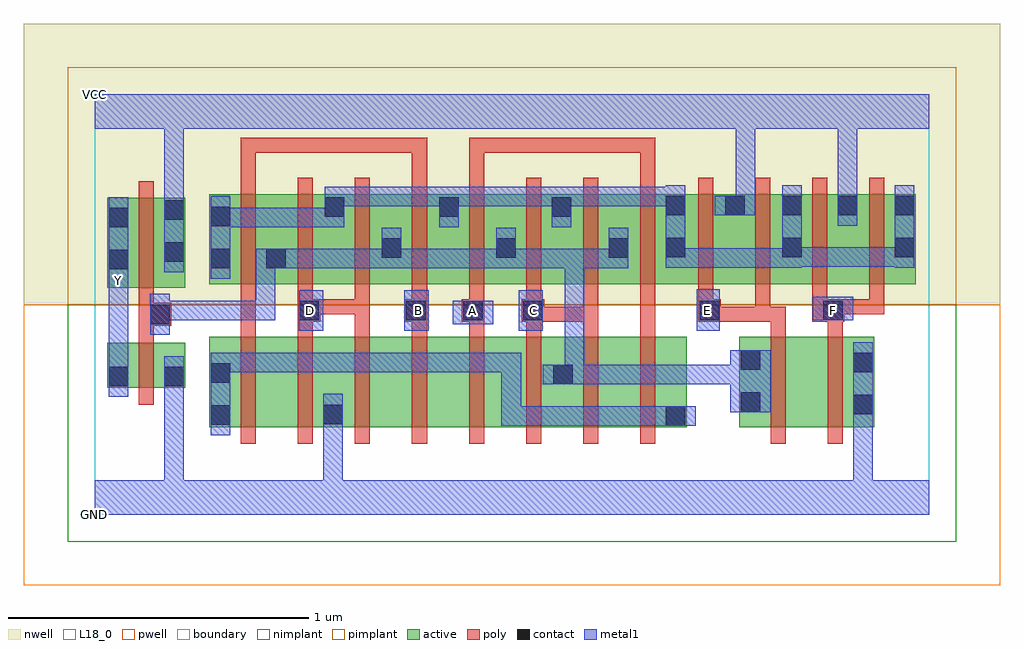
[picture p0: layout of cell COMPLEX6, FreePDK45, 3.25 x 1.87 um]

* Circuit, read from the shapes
.subckt COMPLEX6 A B C D E F GND VCC Y
M1 GND n1 Y VSUBS nfet w=0.15u l=0.05u
M2 n2 B n3 VSUBS nfet w=0.3u l=0.05u
M3 GND D n2 VSUBS nfet w=0.3u l=0.05u
M4 n4 D GND VSUBS nfet w=0.3u l=0.05u
M5 n5 B n4 VSUBS nfet w=0.3u l=0.05u
M6 n6 A n5 VSUBS nfet w=0.3u l=0.05u
M7 n1 C n6 VSUBS nfet w=0.3u l=0.05u
M8 n7 C n1 VSUBS nfet w=0.3u l=0.05u
M9 n3 A n7 VSUBS nfet w=0.3u l=0.05u
M10 n8 E n1 VSUBS nfet w=0.3u l=0.05u
M11 GND F n8 VSUBS nfet w=0.3u l=0.05u
M12 VCC n1 Y n9 pfet w=0.3u l=0.05u
M13 n1 B n10 n9 pfet w=0.3u l=0.05u m=2
M14 n10 D n1 n9 pfet w=0.3u l=0.05u m=2
M15 n1 A n10 n9 pfet w=0.3u l=0.05u m=2
M16 n10 C n1 n9 pfet w=0.3u l=0.05u m=2
M17 VCC E n10 n9 pfet w=0.3u l=0.05u m=2
M18 VCC F n10 n9 pfet w=0.3u l=0.05u m=2
.ends

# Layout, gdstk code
import gdstk
lib = gdstk.Library(unit=1e-6, precision=1e-09)
def R(c, l, rs):  # rectangles x0, y0, x1, y1
    for r in rs: c.add(gdstk.rectangle(r[:2], r[2:], *l))
def A(c, l, x, y, w, h, nx, ny, dx, dy):  # array of equal rectangles
    R(c, l, [(x+i*dx, y+j*dy, x+i*dx+w, y+j*dy+h) for i in range(nx) for j in range(ny)])
active = (1, 0)
pwell = (2, 0)
nwell = (3, 0)
nimplant = (4, 0)
pimplant = (5, 0)
poly = (9, 0)
contact = (10, 0)
metal1 = (11, 0)
L18_0 = (18, 0)
boundary = (235, 0)

complex6 = lib.new_cell('COMPLEX6')
A(complex6, active, 0.382, 0.767, 0.075, 0.3, 3, 1, 0.38, 0)
A(complex6, active, 0.762, 0.767, 0.265, 0.3, 3, 1, 0.19, 0)
R(complex6, active, [(0.382,0.292,0.457,0.592), (0.382,0.292,0.607,0.592), (0.607,0.292,0.832,0.592), (0.757,0.292,0.987,0.592), (0.757,0.292,0.832,0.572), (0.987,0.292,1.177,0.592), (1.177,0.292,1.367,0.592), (1.367,0.292,1.597,0.592), (1.522,0.292,1.747,0.592), (1.747,0.292,1.972,0.592), (1.897,0.292,1.972,0.592), (2.147,0.292,2.222,0.592), (2.147,0.292,2.372,0.592), (2.372,0.292,2.597,0.592), (2.522,0.292,2.597,0.592), (1.522,0.33,1.597,0.505), (0.042,0.422,0.117,0.572), (0.042,0.422,0.302,0.572), (0.227,0.422,0.302,0.572), (0.042,0.755,0.117,1.055), (0.042,0.755,0.302,1.055), (0.227,0.755,0.302,1.055), (0.382,0.767,0.642,1.067), (0.567,0.767,0.837,1.067), (1.332,0.767,1.592,1.067), (1.517,0.767,1.592,1.067), (1.517,0.767,1.782,1.067), (1.707,0.767,1.972,1.067), (1.897,0.767,1.972,1.067), (1.897,0.767,2.17,1.067), (2.095,0.767,2.17,1.067), (2.095,0.767,2.36,1.067), (2.285,0.767,2.36,1.067), (2.285,0.767,2.545,1.067), (2.47,0.767,2.545,1.067), (2.47,0.767,2.735,1.067), (2.66,0.767,2.735,1.067), (0.567,0.815,0.642,1.055), (0.952,0.85,1.027,1.055), (1.332,0.85,1.407,1.055), (1.707,0.85,1.782,1.055)])
R(complex6, pwell, [(-0.235,-0.235,3.015,0.7)])
R(complex6, nwell, [(-0.235,0.7,3.015,1.635)])
R(complex6, nimplant, [(-0.09,-0.09,2.87,0.7)])
R(complex6, pimplant, [(-0.09,0.7,2.87,1.49)])
A(complex6, poly, 0.487, 0.237, 0.05, 0.41, 8, 2, 0.19, 0.475)
A(complex6, poly, 1.057, 0.597, 0.05, 0.095, 5, 1, 0.19, 0)
A(complex6, poly, 0.487, 0.667, 0.05, 0.095, 6, 1, 0.19, 0)
A(complex6, poly, 2.01, 0.712, 0.05, 0.41, 4, 1, 0.19, 0)
R(complex6, poly, [(2.252,0.237,2.302,0.647), (2.442,0.237,2.492,0.647), (0.147,0.367,0.197,0.627), (0.147,0.577,0.197,0.68), (0.487,0.597,0.537,0.717), (0.677,0.597,0.727,0.692), (0.867,0.597,0.917,0.717), (2.252,0.597,2.302,0.692), (2.442,0.597,2.492,0.692), (0.147,0.63,0.255,0.705), (0.677,0.642,0.752,0.717), (1.032,0.642,1.107,0.717), (1.222,0.642,1.297,0.717), (1.422,0.642,1.497,0.717), (1.447,0.642,1.677,0.692), (1.627,0.642,1.677,0.692), (1.627,0.642,1.677,0.692), (1.627,0.642,1.677,0.692), (1.627,0.642,1.677,0.762), (1.817,0.642,1.867,0.692), (1.817,0.642,1.867,0.762), (2.01,0.642,2.085,0.717), (2.035,0.642,2.25,0.692), (2.2,0.642,2.25,0.692), (2.2,0.642,2.25,0.692), (2.2,0.642,2.25,0.762), (2.2,0.642,2.302,0.692), (2.39,0.642,2.497,0.717), (0.147,0.655,0.197,0.75), (0.487,0.667,0.537,0.717), (0.702,0.667,0.752,0.717), (0.702,0.667,0.752,0.717), (0.702,0.667,0.917,0.717), (0.867,0.667,0.917,0.717), (2.01,0.667,2.06,0.762), (2.39,0.667,2.44,0.762), (2.447,0.667,2.63,0.717), (2.58,0.667,2.63,0.762), (2.58,0.667,2.63,0.717), (2.58,0.667,2.63,0.717), (2.58,0.667,2.63,0.717), (0.147,0.7,0.197,1.11), (0.487,1.072,0.537,1.255), (1.057,1.072,1.107,1.255), (1.247,1.072,1.297,1.255), (1.817,1.072,1.867,1.255), (0.487,1.205,0.537,1.255), (0.487,1.205,0.537,1.255), (0.487,1.205,0.537,1.255), (0.487,1.205,0.687,1.255), (0.637,1.205,0.687,1.255), (0.637,1.205,0.95,1.255), (0.9,1.205,0.95,1.255), (0.9,1.205,0.95,1.255), (0.9,1.205,0.95,1.255), (0.9,1.205,1.107,1.255), (1.057,1.205,1.107,1.255), (1.057,1.205,1.107,1.255), (1.057,1.205,1.107,1.255), (1.247,1.205,1.297,1.255), (1.247,1.205,1.297,1.255), (1.247,1.205,1.297,1.255), (1.247,1.205,1.545,1.255), (1.495,1.205,1.545,1.255), (1.495,1.205,1.545,1.255), (1.495,1.205,1.545,1.255), (1.495,1.205,1.735,1.255), (1.685,1.205,1.735,1.255), (1.685,1.205,1.867,1.255), (1.817,1.205,1.867,1.255), (1.817,1.205,1.867,1.255), (1.817,1.205,1.867,1.255)])
R(complex6, contact, [(1.902,0.297,1.967,0.362), (0.387,0.3,0.452,0.365), (0.762,0.302,0.827,0.367), (2.527,0.335,2.592,0.4), (2.152,0.342,2.217,0.407), (0.047,0.427,0.112,0.492), (0.232,0.427,0.297,0.492), (1.527,0.435,1.592,0.5), (0.387,0.44,0.452,0.505), (2.527,0.475,2.592,0.54), (2.152,0.482,2.217,0.547), (0.185,0.635,0.25,0.7), (0.682,0.647,0.747,0.712), (1.037,0.647,1.102,0.712), (1.227,0.647,1.292,0.712), (1.427,0.647,1.492,0.712), (2.015,0.647,2.08,0.712), (2.427,0.647,2.492,0.712), (0.047,0.817,0.112,0.882), (0.387,0.82,0.452,0.885), (0.572,0.82,0.637,0.885), (0.232,0.842,0.297,0.907), (0.957,0.855,1.022,0.92), (1.337,0.855,1.402,0.92), (1.712,0.855,1.777,0.92), (1.902,0.857,1.967,0.922), (2.29,0.857,2.355,0.922), (2.665,0.857,2.73,0.922), (0.047,0.957,0.112,1.022), (0.387,0.96,0.452,1.025), (0.232,0.982,0.297,1.047), (0.767,0.992,0.832,1.057), (1.147,0.992,1.212,1.057), (1.522,0.992,1.587,1.057), (1.902,0.997,1.967,1.062), (2.1,0.997,2.165,1.062), (2.29,0.997,2.355,1.062), (2.475,0.997,2.54,1.062), (2.665,0.997,2.73,1.062)])
R(complex6, metal1, [(0,0,2.78,0.115), (0.232,0.05,0.297,0.115), (0.232,0.05,0.297,0.115), (0.232,0.05,0.297,0.115), (0.232,0.05,0.297,0.115), (0.232,0.05,0.297,0.115), (0.232,0.05,0.297,0.115), (0.232,0.05,0.297,0.457), (0.762,0.05,0.827,0.115), (0.762,0.05,0.827,0.115), (0.762,0.05,0.827,0.332), (2.527,0.05,2.592,0.115), (2.527,0.05,2.592,0.115), (2.527,0.05,2.592,0.115), (2.527,0.05,2.592,0.115), (2.527,0.05,2.592,0.365), (0.387,0.265,0.452,0.54), (0.762,0.267,0.827,0.332), (0.762,0.267,0.827,0.332), (0.762,0.267,0.827,0.402), (1.355,0.297,1.42,0.362), (1.355,0.297,1.42,0.362), (1.355,0.297,1.42,0.362), (1.355,0.297,1.557,0.362), (1.355,0.297,1.42,0.54), (1.492,0.297,1.557,0.362), (1.492,0.297,1.795,0.362), (1.73,0.297,1.795,0.362), (1.73,0.297,1.795,0.362), (1.73,0.297,1.795,0.362), (1.73,0.297,1.932,0.362), (1.867,0.297,1.932,0.362), (1.867,0.297,1.932,0.362), (1.867,0.297,2.002,0.362), (2.527,0.3,2.592,0.575), (2.117,0.342,2.252,0.547), (0.047,0.392,0.112,0.527), (0.232,0.392,0.297,0.527), (1.492,0.435,1.63,0.5), (1.565,0.435,1.63,0.5), (1.565,0.435,1.63,0.5), (1.565,0.435,1.767,0.5), (1.565,0.435,1.63,0.885), (1.702,0.435,1.767,0.5), (1.702,0.435,1.795,0.5), (1.73,0.435,1.795,0.5), (1.73,0.435,1.932,0.5), (1.867,0.435,1.932,0.5), (1.867,0.435,1.932,0.5), (1.867,0.435,1.932,0.5), (1.867,0.435,2.182,0.5), (2.117,0.435,2.182,0.5), (2.117,0.435,2.182,0.5), (0.047,0.462,0.112,0.777), (0.387,0.475,0.452,0.54), (0.387,0.475,0.452,0.54), (0.387,0.475,0.672,0.54), (0.607,0.475,0.672,0.54), (0.607,0.475,0.74,0.54), (0.675,0.475,0.74,0.54), (0.675,0.475,0.81,0.54), (0.745,0.475,0.81,0.54), (0.745,0.475,0.885,0.54), (0.82,0.475,0.885,0.54), (0.82,0.475,1.022,0.54), (0.957,0.475,1.022,0.54), (0.957,0.475,1.022,0.54), (0.957,0.475,1.022,0.54), (0.957,0.475,1.212,0.54), (1.147,0.475,1.212,0.54), (1.147,0.475,1.212,0.54), (1.147,0.475,1.212,0.54), (1.147,0.475,1.42,0.54), (1.355,0.475,1.42,0.54), (0.185,0.6,0.25,0.735), (0.682,0.612,0.762,0.747), (1.032,0.612,1.112,0.747), (1.412,0.612,1.492,0.747), (2.005,0.612,2.082,0.75), (1.192,0.635,1.327,0.712), (0.185,0.647,0.25,0.712), (0.185,0.647,0.25,0.712), (0.185,0.647,0.465,0.712), (0.4,0.647,0.465,0.712), (0.4,0.647,0.602,0.712), (0.537,0.647,0.602,0.712), (0.537,0.647,0.602,0.712), (0.537,0.647,0.602,0.712), (0.537,0.647,0.602,0.885), (2.392,0.647,2.527,0.725), (0.047,0.712,0.112,0.847), (0.047,0.782,0.112,0.847), (0.047,0.782,0.112,1.057), (0.387,0.785,0.452,1.06), (0.232,0.807,0.297,1.082), (0.537,0.82,0.672,0.885), (0.607,0.82,0.74,0.885), (0.675,0.82,0.74,0.885), (0.675,0.82,0.885,0.885), (0.82,0.82,0.885,0.885), (0.82,0.82,0.885,0.885), (0.82,0.82,0.885,0.885), (0.82,0.82,1.022,0.885), (0.957,0.82,1.022,0.885), (0.957,0.82,1.022,0.885), (0.957,0.82,1.022,0.955), (0.957,0.82,1.265,0.885), (1.2,0.82,1.265,0.885), (1.2,0.82,1.265,0.885), (1.2,0.82,1.265,0.885), (1.2,0.82,1.402,0.885), (1.337,0.82,1.402,0.955), (1.337,0.82,1.63,0.885), (1.565,0.82,1.63,0.885), (1.565,0.82,1.63,0.885), (1.565,0.82,1.63,0.885), (1.565,0.82,1.777,0.885), (1.712,0.82,1.777,0.885), (1.712,0.82,1.777,0.885), (1.712,0.82,1.777,0.955), (1.902,0.822,1.967,0.887), (1.902,0.822,1.967,0.887), (1.902,0.822,1.967,1.097), (1.902,0.822,2.105,0.887), (2.04,0.822,2.105,0.887), (2.04,0.822,2.105,0.887), (2.04,0.822,2.105,0.887), (2.04,0.822,2.32,0.887), (2.255,0.822,2.32,0.887), (2.255,0.822,2.355,0.887), (2.29,0.822,2.355,1.097), (2.665,0.822,2.73,1.097), (2.29,0.825,2.592,0.89), (2.527,0.825,2.592,0.89), (2.527,0.825,2.592,0.89), (2.527,0.825,2.592,0.89), (2.527,0.825,2.73,0.89), (2.665,0.825,2.73,0.89), (2.665,0.825,2.73,0.89), (0.387,0.957,0.452,1.022), (0.387,0.957,0.452,1.022), (0.387,0.957,0.61,1.022), (0.545,0.957,0.61,1.022), (0.545,0.957,0.74,1.022), (0.675,0.957,0.74,1.022), (0.675,0.957,0.832,1.022), (0.767,0.957,0.832,1.092), (1.147,0.957,1.212,1.092), (1.522,0.957,1.587,1.092), (2.475,0.962,2.54,1.097), (2.065,0.997,2.2,1.062), (2.135,0.997,2.2,1.35), (0.232,1.017,0.297,1.35), (0.767,1.027,0.885,1.092), (0.82,1.027,0.885,1.092), (0.82,1.027,1.075,1.092), (1.01,1.027,1.075,1.092), (1.01,1.027,1.075,1.092), (1.01,1.027,1.075,1.092), (1.01,1.027,1.212,1.092), (1.147,1.027,1.212,1.092), (1.147,1.027,1.212,1.092), (1.147,1.027,1.42,1.092), (1.355,1.027,1.42,1.092), (1.355,1.027,1.42,1.092), (1.355,1.027,1.42,1.092), (1.355,1.027,1.587,1.092), (1.522,1.027,1.767,1.092), (1.702,1.027,1.767,1.092), (1.702,1.027,1.767,1.092), (1.702,1.027,1.767,1.092), (1.702,1.027,1.932,1.092), (1.867,1.027,1.932,1.092), (1.867,1.027,1.967,1.092), (2.475,1.032,2.54,1.35), (0,1.285,2.78,1.4), (0.232,1.285,0.297,1.35), (0.232,1.285,0.297,1.35), (2.135,1.285,2.2,1.35), (2.135,1.285,2.2,1.35), (2.475,1.285,2.54,1.35), (2.475,1.285,2.54,1.35)])
R(complex6, L18_0, [(0,0,2.78,0.115), (0.232,0.05,0.297,0.115), (0.232,0.05,0.297,0.115), (0.232,0.05,0.297,0.115), (0.232,0.05,0.297,0.115), (0.232,0.05,0.297,0.115), (0.232,0.05,0.297,0.115), (0.232,0.05,0.297,0.457), (0.762,0.05,0.827,0.115), (0.762,0.05,0.827,0.115), (0.762,0.05,0.827,0.332), (2.527,0.05,2.592,0.365), (2.527,0.05,2.592,0.115), (2.527,0.05,2.592,0.115), (2.527,0.05,2.592,0.115), (2.527,0.05,2.592,0.115), (0.762,0.267,0.827,0.402), (0.762,0.267,0.827,0.332), (0.762,0.267,0.827,0.332), (2.527,0.3,2.592,0.575), (0.047,0.392,0.112,0.527), (0.232,0.392,0.297,0.527), (0.047,0.462,0.112,0.777), (0.682,0.612,0.762,0.747), (1.032,0.612,1.112,0.747), (1.412,0.612,1.492,0.747), (2.005,0.612,2.082,0.75), (1.192,0.635,1.327,0.712), (0.687,0.647,0.752,0.712), (1.047,0.647,1.112,0.712), (1.227,0.647,1.292,0.712), (1.427,0.647,1.492,0.712), (2.007,0.647,2.072,0.712), (2.392,0.647,2.527,0.725), (2.427,0.647,2.492,0.712), (0.047,0.712,0.112,0.847), (0.047,0.747,0.112,0.812), (0.047,0.782,0.112,1.057), (0.047,0.782,0.112,0.847), (0.232,0.807,0.297,1.082), (2.475,0.962,2.54,1.097), (2.065,0.997,2.2,1.062), (2.135,0.997,2.2,1.35), (0.232,1.017,0.297,1.35), (2.475,1.032,2.54,1.35), (0,1.285,2.78,1.4), (0.232,1.285,0.297,1.35), (0.232,1.285,0.297,1.35), (2.135,1.285,2.2,1.35), (2.135,1.285,2.2,1.35), (2.475,1.285,2.54,1.35), (2.475,1.285,2.54,1.35)])
R(complex6, boundary, [(0,0,2.78,1.4)])
complex6.add(gdstk.Label('A', (1.26,0.68), layer=11, texttype=0))
complex6.add(gdstk.Label('B', (1.08,0.68), layer=11, texttype=0))
complex6.add(gdstk.Label('C', (1.46,0.68), layer=11, texttype=0))
complex6.add(gdstk.Label('D', (0.72,0.68), layer=11, texttype=0))
complex6.add(gdstk.Label('E', (2.04,0.68), layer=11, texttype=0))
complex6.add(gdstk.Label('F', (2.46,0.68), layer=11, texttype=0))
complex6.add(gdstk.Label('Y', (0.08,0.78), layer=11, texttype=0))
complex6.add(gdstk.Label('VCC', (0,1.4), layer=11, texttype=0))
complex6.add(gdstk.Label('GND', (0,0), layer=11, texttype=0))

lib.write_gds('COMPLEX6.gds')
